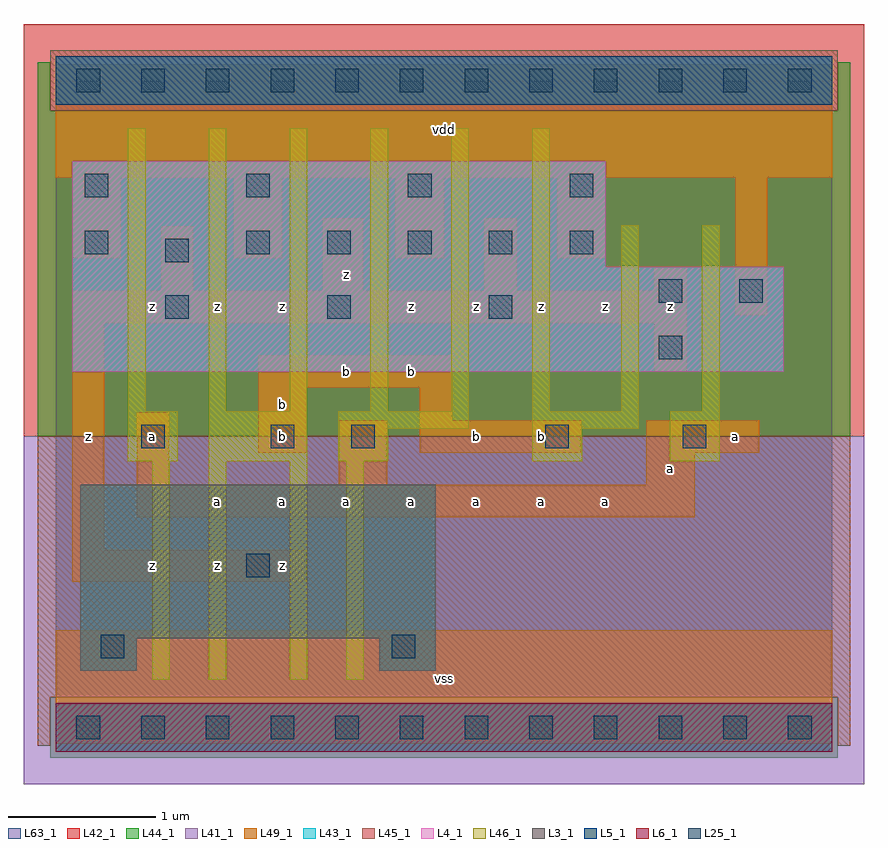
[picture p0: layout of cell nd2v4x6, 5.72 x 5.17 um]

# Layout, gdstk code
import gdstk
lib = gdstk.Library(unit=1e-6, precision=1e-09)
def R(c, l, rs):  # rectangles x0, y0, x1, y1
    for r in rs: c.add(gdstk.rectangle(r[:2], r[2:], *l))
def A(c, l, x, y, w, h, nx, ny, dx, dy):  # array of equal rectangles
    R(c, l, [(x+i*dx, y+j*dy, x+i*dx+w, y+j*dy+h) for i in range(nx) for j in range(ny)])
L3_1 = (3, 1)
L4_1 = (4, 1)
L5_1 = (5, 1)
L6_1 = (6, 1)
L25_1 = (25, 1)
L41_1 = (41, 1)
L42_1 = (42, 1)
L43_1 = (43, 1)
L44_1 = (44, 1)
L45_1 = (45, 1)
L46_1 = (46, 1)
L49_1 = (49, 1)
L63_1 = (63, 1)

nd2v4x6 = lib.new_cell('nd2v4x6')
R(nd2v4x6, L3_1, [(0.165,0.385,0.55,0.605), (2.2,0.385,2.585,0.605), (0.165,0.605,2.585,1.65)])
R(nd2v4x6, L4_1, [(0.11,2.42,4.95,3.135), (0.11,3.135,3.74,3.85)])
R(nd2v4x6, L5_1, [(0,4.235,5.28,4.565)])
R(nd2v4x6, L6_1, [(0,-0.165,5.28,0.165)])
A(nd2v4x6, L25_1, 0.14, -0.08, 0.16, 0.16, 12, 2, 0.44, 4.4)
A(nd2v4x6, L25_1, 0.745, 2.78, 0.16, 0.16, 3, 1, 1.1, 0)
A(nd2v4x6, L25_1, 1.295, 3.22, 0.16, 0.16, 5, 1, 0.55, 0)
A(nd2v4x6, L25_1, 0.195, 3.605, 0.16, 0.16, 4, 1, 1.1, 0)
R(nd2v4x6, L25_1, [(0.305,0.47,0.465,0.63), (2.285,0.47,2.445,0.63), (1.295,1.02,1.455,1.18), (0.58,1.9,0.74,2.06), (1.46,1.9,1.62,2.06), (2.01,1.9,2.17,2.06), (3.33,1.9,3.49,2.06), (4.265,1.9,4.425,2.06), (4.1,2.505,4.26,2.665), (4.1,2.89,4.26,3.05), (4.65,2.89,4.81,3.05), (0.745,3.165,0.905,3.325), (0.195,3.22,0.355,3.38)])
R(nd2v4x6, L41_1, [(-0.22,-0.385,5.5,1.98)])
R(nd2v4x6, L42_1, [(-0.22,1.98,5.5,4.785)])
R(nd2v4x6, L43_1, [(0,-0.165,5.28,0.165), (0.165,0.385,0.55,0.605), (2.2,0.385,2.585,0.605), (0.165,0.605,2.585,1.65), (0.11,2.42,4.95,3.135), (0.11,3.135,3.74,3.85), (0,4.235,5.28,4.565)])
R(nd2v4x6, L44_1, [(-0.04,-0.205,5.32,0.205), (-0.125,1.98,5.405,4.195), (-0.125,4.195,-0.04,4.525), (5.32,4.195,5.405,4.525)])
R(nd2v4x6, L45_1, [(-0.125,-0.125,-0.04,0.205), (5.32,-0.125,5.405,0.205), (-0.125,0.205,5.405,1.98), (-0.04,4.195,5.32,4.605)])
A(nd2v4x6, L46_1, 0.49, 2.15, 0.12, 1.925, 6, 1, 0.55, 0)
R(nd2v4x6, L46_1, [(0.655,0.325,0.775,1.81), (1.04,0.325,1.16,1.81), (1.59,0.325,1.71,1.81), (1.975,0.325,2.095,1.81), (0.49,1.81,0.83,2.15), (1.04,1.81,1.71,2.15), (1.92,1.81,2.26,2.03), (3.24,1.81,3.58,2.03), (4.175,1.81,4.515,2.15), (1.92,2.03,2.81,2.15), (3.24,2.03,3.965,2.15), (3.845,2.15,3.965,3.415), (4.395,2.15,4.515,3.415)])
A(nd2v4x6, L49_1, 0.11, 3.19, 0.33, 0.55, 4, 1, 1.1, 0)
R(nd2v4x6, L49_1, [(0,-0.11,5.28,0.66), (0.11,0.99,1.705,1.21), (0.11,1.21,0.33,2.75), (0.55,1.43,4.345,1.65), (0.55,1.65,0.77,2.145), (1.925,1.65,2.255,2.09), (4.015,1.65,4.345,1.87), (1.375,1.87,1.705,2.31), (2.475,1.87,3.575,2.09), (4.015,1.87,4.785,2.09), (2.475,2.09,2.695,2.31), (1.375,2.31,2.695,2.53), (4.07,2.42,4.29,2.75), (0.11,2.75,4.29,2.97), (4.62,2.805,4.84,3.74), (0.715,2.97,0.935,3.41), (1.815,2.97,2.09,3.465), (2.915,2.97,3.135,3.465), (4.07,2.97,4.29,3.135), (0,3.74,5.28,4.51)])
R(nd2v4x6, L63_1, [(0,0,5.28,4.4)])
nd2v4x6.add(gdstk.Label('z', (0.66,1.1), layer=49, texttype=1))
nd2v4x6.add(gdstk.Label('a', (0.66,1.98), layer=49, texttype=1))
nd2v4x6.add(gdstk.Label('z', (0.22,1.98), layer=49, texttype=1))
nd2v4x6.add(gdstk.Label('z', (0.66,2.86), layer=49, texttype=1))
nd2v4x6.add(gdstk.Label('z', (1.1,1.1), layer=49, texttype=1))
nd2v4x6.add(gdstk.Label('a', (1.1,1.54), layer=49, texttype=1))
nd2v4x6.add(gdstk.Label('z', (1.54,1.1), layer=49, texttype=1))
nd2v4x6.add(gdstk.Label('a', (1.54,1.54), layer=49, texttype=1))
nd2v4x6.add(gdstk.Label('b', (1.54,1.98), layer=49, texttype=1))
nd2v4x6.add(gdstk.Label('b', (1.54,2.2), layer=49, texttype=1))
nd2v4x6.add(gdstk.Label('z', (1.54,2.86), layer=49, texttype=1))
nd2v4x6.add(gdstk.Label('z', (1.1,2.86), layer=49, texttype=1))
nd2v4x6.add(gdstk.Label('vss', (2.64,0.33), layer=49, texttype=1))
nd2v4x6.add(gdstk.Label('a', (1.98,1.54), layer=49, texttype=1))
nd2v4x6.add(gdstk.Label('a', (2.42,1.54), layer=49, texttype=1))
nd2v4x6.add(gdstk.Label('a', (2.86,1.54), layer=49, texttype=1))
nd2v4x6.add(gdstk.Label('b', (1.98,2.42), layer=49, texttype=1))
nd2v4x6.add(gdstk.Label('b', (2.42,2.42), layer=49, texttype=1))
nd2v4x6.add(gdstk.Label('b', (2.86,1.98), layer=49, texttype=1))
nd2v4x6.add(gdstk.Label('z', (2.42,2.86), layer=49, texttype=1))
nd2v4x6.add(gdstk.Label('z', (2.86,2.86), layer=49, texttype=1))
nd2v4x6.add(gdstk.Label('z', (1.98,3.08), layer=49, texttype=1))
nd2v4x6.add(gdstk.Label('vdd', (2.64,4.07), layer=49, texttype=1))
nd2v4x6.add(gdstk.Label('a', (3.3,1.54), layer=49, texttype=1))
nd2v4x6.add(gdstk.Label('a', (3.74,1.54), layer=49, texttype=1))
nd2v4x6.add(gdstk.Label('a', (4.18,1.76), layer=49, texttype=1))
nd2v4x6.add(gdstk.Label('b', (3.3,1.98), layer=49, texttype=1))
nd2v4x6.add(gdstk.Label('z', (3.74,2.86), layer=49, texttype=1))
nd2v4x6.add(gdstk.Label('z', (4.18,2.86), layer=49, texttype=1))
nd2v4x6.add(gdstk.Label('z', (3.3,2.86), layer=49, texttype=1))
nd2v4x6.add(gdstk.Label('a', (4.62,1.98), layer=49, texttype=1))

lib.write_gds('nd2v4x6.gds')
